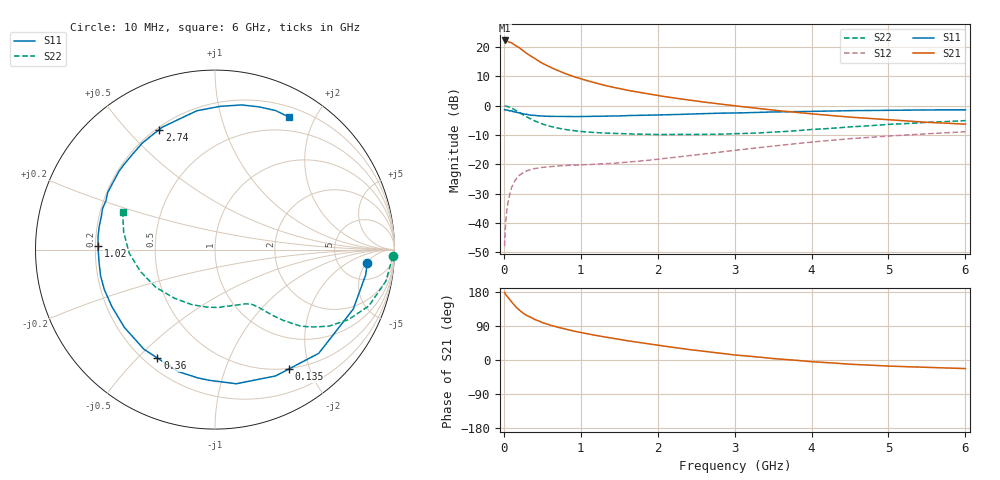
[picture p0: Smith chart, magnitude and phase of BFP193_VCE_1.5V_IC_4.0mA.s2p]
! Infineon Technologies  Discrete & RF Semiconductors
! BFP193
! VCE = 1.5 V,  IC =  4.0 mA
! Common Emitter S-Parameters:  Jan 2016
# GHz  S  MA  R  50
!  f  S11  S21  S12  S22
! GHz  MAG  ANG  MAG  ANG  MAG  ANG  MAG  ANG
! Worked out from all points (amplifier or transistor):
!   210 points, 10 MHz to 6 GHz, reference 50 ohm
!   highest |S21| = 22.2 dB at 10 MHz (marker M1)
!   |S21| within 3 dB of that: start of sweep to 225.7 MHz
!   unconditionally stable (mu >= 1): 1.323 GHz to 3.76 GHz
!   at 185 MHz: K = 0.18, MSG = 22.1 dB, |S12| = -24.3 dB
!   at 1.52 GHz: K = 1.08, MAG = 10.9 dB, |S12| = -19.5 dB
!   at 6 GHz: K = 0.95, MSG = 1.3 dB, |S12| = -8.9 dB
!   S11 on the Smith chart (normalised r, x): 10 MHz: 10, -5; 135 MHz: 0.49, -1.68; 360 MHz: 0.25, -0.57; 1.02 GHz: 0.21, +0.01; 2.74 GHz: 0.21, +0.62; 6 GHz: 0.32, +1.65
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0.01  0.8518 -4.9  12.92 178.2  0.004 89.8  0.9897 -2.1
0.02  0.8514 -9.5  12.62 174.0  0.0084 83.4  0.9838 -4.2
0.05  0.8384 -23.3  12.46 166.0  0.0208 78.7  0.968 -10.5
0.1  0.8174 -45.0  11.8 153.2  0.0397 67.6  0.9129 -20.1
0.135  0.782 -58.4  10.95 145.0  0.0495 60.3  0.86 -25.3
0.15  0.7807 -64.4  10.66 141.1  0.0539 58.0  0.8397 -27.7
0.2  0.7567 -81.0  9.718 131.8  0.0645 50.9  0.766 -33.8
0.24  0.7289 -92.5  8.848 125.3  0.0703 45.8  0.7079 -37.5
0.3  0.71 -106.9  7.721 117.2  0.0776 40.9  0.6392 -41.8
0.36  0.6842 -118.0  6.87 111.6  0.0816 36.9  0.5837 -44.2
0.4  0.6818 -125.6  6.347 107.1  0.0844 34.5  0.5473 -46.1
0.5  0.6654 -139.3  5.277 98.8  0.0884 30.9  0.4846 -48.9
0.6  0.6566 -150.9  4.534 92.2  0.0911 28.4  0.4422 -50.8
0.8  0.654 -167.2  3.508 81.4  0.0952 26.7  0.3913 -53.8
1.02  0.6519 178.3  2.814 71.8  0.0976 26.9  0.3602 -57.3
1.4  0.6667 160.2  2.077 57.8  0.1031 29.6  0.3377 -65.0
2.02  0.6944 136.7  1.471 38.5  0.1226 35.9  0.3211 -80.6
2.74  0.7376 114.9  1.092 19.7  0.1571 39.0  0.324 -103.3
3.1  0.7525 106.1  0.959 11.7  0.1783 38.4  0.334 -116.1
4.1  0.8013 86.3  0.705 -5.6  0.2454 31.7  0.3976 -151.2
5.1  0.834 71.5  0.562 -16.7  0.3082 20.8  0.4843 179.5
6  0.8455 61.0  0.483 -22.6  0.3576 9.8  0.5548 158.0
